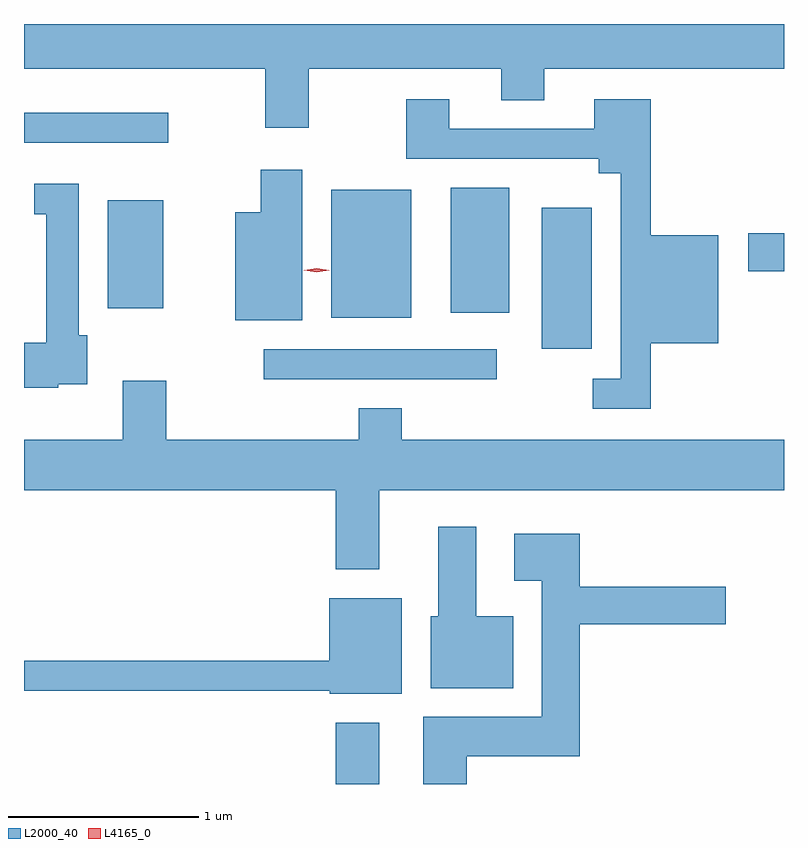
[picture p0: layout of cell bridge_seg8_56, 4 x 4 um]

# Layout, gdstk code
import gdstk
lib = gdstk.Library(unit=1e-6, precision=1e-09)
def R(c, l, rs):  # rectangles x0, y0, x1, y1
    for r in rs: c.add(gdstk.rectangle(r[:2], r[2:], *l))
def P(c, l, *ps):  # polygons
    for p in ps: c.add(gdstk.Polygon(p, *l))
L2000_40 = (2000, 40)
L4165_0 = (4165, 0)

bridge_seg8_56 = lib.new_cell('bridge_seg8_56')
R(bridge_seg8_56, L2000_40, [(1517.351,1905.911,1517.579,1906.234), (1516.973,1908.041,1518.198,1908.199), (1518.436,1908.201,1518.699,1908.944), (1517.326,1908.366,1517.749,1909.039), (1517.956,1908.391,1518.264,1909.049), (1516.151,1908.416,1516.444,1908.984), (1519.521,1908.611,1519.71,1908.809), (1515.71,1909.286,1516.468,1909.444)])
P(bridge_seg8_56, L2000_40, [(1517.209,1909.676),(1518.221,1909.676),(1518.221,1909.511),(1518.449,1909.511),(1518.449,1909.676),(1519.71,1909.676),(1519.71,1909.911),(1515.71,1909.911),(1515.71,1909.676),(1516.981,1909.676),(1516.981,1909.366),(1517.209,1909.366)],
  [(1519.009,1908.231),(1519.364,1908.231),(1519.364,1908.799),(1519.009,1908.799),(1519.009,1909.514),(1518.711,1909.514),(1518.711,1909.359),(1517.949,1909.359),(1517.949,1909.514),(1517.721,1909.514),(1517.721,1909.201),(1518.736,1909.201),(1518.736,1909.126),(1518.851,1909.126),(1518.851,1908.044),(1518.703,1908.044),(1518.703,1907.886),(1519.009,1907.886)],
  [(1517.174,1909.144),(1516.956,1909.144),(1516.956,1908.919),(1516.821,1908.919),(1516.821,1908.351),(1517.174,1908.351)],
  [(1515.889,1908.016),(1516.044,1908.016),(1516.044,1908.274),(1515.999,1908.274),(1515.999,1909.069),(1515.763,1909.069),(1515.763,1908.911),(1515.826,1908.911),(1515.826,1908.234),(1515.71,1908.234),(1515.71,1907.996),(1515.889,1907.996)],
  [(1517.579,1907.456),(1519.71,1907.456),(1519.71,1907.724),(1517.699,1907.724),(1517.699,1907.889),(1517.471,1907.889),(1517.471,1907.724),(1516.459,1907.724),(1516.459,1908.034),(1516.231,1908.034),(1516.231,1907.724),(1515.71,1907.724),(1515.71,1907.456),(1517.351,1907.456),(1517.351,1907.041),(1517.579,1907.041)],
  [(1518.284,1906.794),(1518.089,1906.794),(1518.089,1907.264),(1517.891,1907.264),(1517.891,1906.794),(1517.851,1906.794),(1517.851,1906.416),(1518.284,1906.416)],
  [(1518.039,1906.056),(1518.634,1906.056),(1518.634,1906.751),(1519.404,1906.751),(1519.404,1906.949),(1518.634,1906.949),(1518.634,1907.229),(1518.291,1907.229),(1518.291,1906.981),(1518.436,1906.981),(1518.436,1906.264),(1517.811,1906.264),(1517.811,1905.911),(1518.039,1905.911)],
  [(1517.699,1906.889),(1517.316,1906.889),(1517.316,1906.559),(1515.71,1906.559),(1515.71,1906.401),(1517.32,1906.401),(1517.32,1906.386),(1517.699,1906.386)])
P(bridge_seg8_56, L4165_0, [(1517.25,1908.605),(1517.183,1908.615),(1517.183,1908.615),(1517.183,1908.616),(1517.25,1908.625),(1517.316,1908.616),(1517.316,1908.615),(1517.316,1908.615)])

lib.write_gds('bridge_seg8_56.gds')
